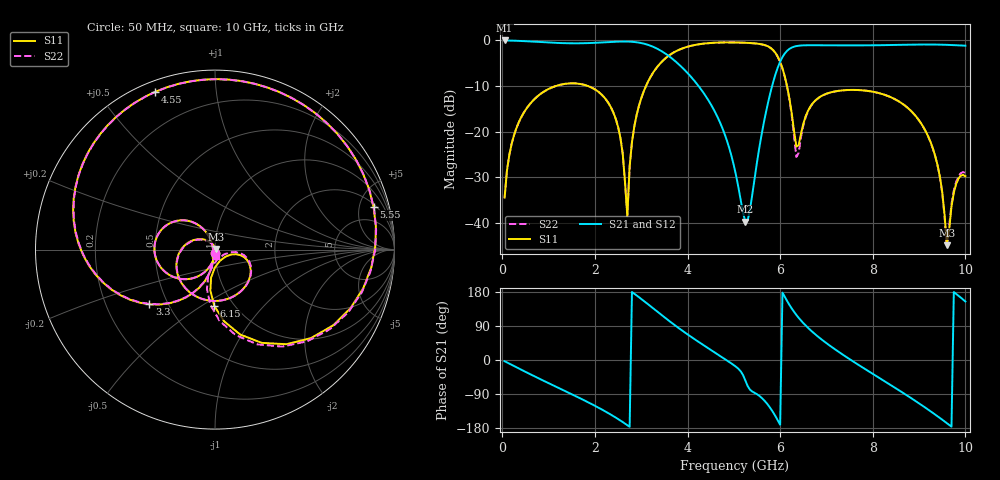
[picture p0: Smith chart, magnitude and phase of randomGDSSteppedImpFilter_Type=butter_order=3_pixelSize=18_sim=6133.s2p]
! freq	dB(S11)	phase(S11)	dB(S12)	phase(S12)
!  dB(S21)	phase(S21)	dB(S22)	phase(S22)
!S-par simulation data
#  GHz  S  DB  R 50
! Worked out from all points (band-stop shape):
!   200 points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, 50 MHz to 10 GHz, reference 50 ohm
!   highest |S21| = -0.02 dB at 50 MHz (marker M1); lowest = -39.8 dB at 5.25 GHz (marker M2)
!   |S21| within 3 dB of the highest: start of sweep to 3.538 GHz; 6.091 GHz to end of sweep
!   lowest |S11| = -44.9 dB at 9.6 GHz (marker M3), VSWR 1.01, Z = 50.5 + j0.346 ohm
!   |S11| at or under -10 dB: start of sweep to 1.161 GHz; 1.846 GHz to 3.104 GHz (1.257 GHz wide, 50.8 % of centre); 6.148 GHz to end of sweep
!   |S22| runs from -45.2 to -0.4 dB; largest |S21 - S12| = 0
!   S11 on the Smith chart (normalised r, x): 50 MHz: 1.00, -0.04; 3.3 GHz: 0.39, -0.31; 4.55 GHz: 0.05, +0.69; 5.55 GHz: 2.34, +6.80; 6.15 GHz: 0.82, -0.57; 10 GHz: 1.00, -0.06
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0.05  -34.49 -91.1  -0.02 -3.2  -0.02 -3.2  -34.49 -91.1
0.5  -15.29 -121.5  -0.18 -31.2  -0.18 -31.2  -15.29 -121.6
1.75  -9.70 164.5  -0.62 -105.2  -0.62 -105.2  -9.70 164.5
2.45  -17.24 120.3  -0.29 -152.0  -0.29 -152.0  -17.24 120.3
2.7  -38.59 -143.3  -0.26 -172.0  -0.26 -172.0  -38.28 -144.6
2.85  -18.93 -101.3  -0.35 175.0  -0.35 175.0  -18.93 -101.8
3.3  -6.45 -140.2  -1.60 132.2  -1.60 132.2  -6.45 -140.5
3.4  -5.17 -149.7  -2.13 122.5  -2.13 122.5  -5.17 -150.1
3.95  -1.55 160.1  -6.63 71.9  -6.63 71.9  -1.55 159.7
4.55  -0.53 110.6  -14.88 22.8  -14.88 22.8  -0.54 110.0
5.05  -0.46 68.1  -29.73 -18.1  -29.73 -18.1  -0.46 67.2
5.25  -0.52 49.0  -39.79 -54.3  -39.79 -54.3  -0.53 48.0
5.55  -0.77 15.0  -23.56 -94.6  -23.56 -94.6  -0.78 13.7
5.9  -2.76 -42.7  -7.41 -148.7  -7.41 -148.7  -2.80 -44.8
6.15  -10.09 -90.8  -2.28 155.8  -2.28 155.8  -10.25 -95.0
6.35  -23.30 -66.3  -1.25 118.9  -1.25 118.9  -25.58 -69.8
6.7  -13.85 -21.5  -1.06 73.9  -1.06 73.9  -13.91 -19.1
7.45  -10.90 -82.5  -1.10 6.2  -1.10 6.2  -10.89 -81.5
8.35  -12.30 -151.4  -1.03 -63.2  -1.03 -63.2  -12.29 -150.2
9.25  -22.38 134.5  -0.91 -135.5  -0.91 -135.5  -22.40 136.4
9.6  -44.93 37.2  -0.98 -166.6  -0.98 -166.6  -45.17 32.4
10  -29.82 -89.5  -1.17 154.5  -1.17 154.5  -29.06 -83.7
